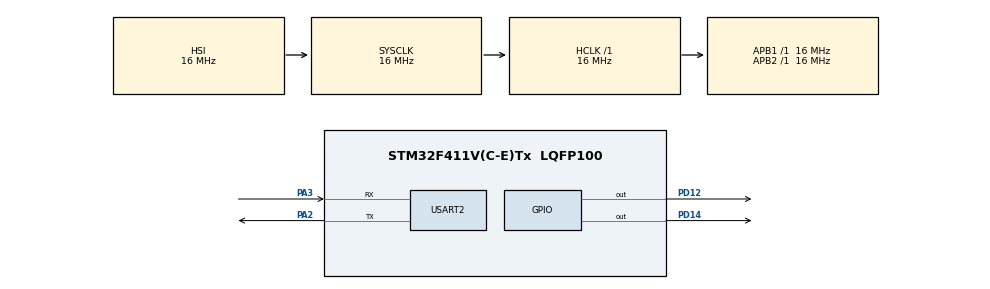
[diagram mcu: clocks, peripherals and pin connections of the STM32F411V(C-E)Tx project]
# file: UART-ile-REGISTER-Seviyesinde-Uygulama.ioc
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Mcu.Family=STM32F4
Mcu.Name=STM32F411V(C-E)Tx
Mcu.Package=LQFP100
NVIC.PriorityGroup=NVIC_PRIORITYGROUP_4
PA2.Mode=Asynchronous
PA2.Signal=USART2_TX
PA3.Mode=Asynchronous
PA3.Signal=USART2_RX
PD12.Signal=GPIO_Output
PD14.Signal=GPIO_Output
ProjectManager.HeapSize=0x200
ProjectManager.StackSize=0x400
ProjectManager.TargetToolchain=STM32CubeIDE
RCC.AHBFreq_Value=16000000
RCC.APB1Freq_Value=16000000
RCC.APB2Freq_Value=16000000
RCC.CortexFreq_Value=16000000
RCC.HSE_VALUE=25000000
RCC.HSI_VALUE=16000000
RCC.LSE_VALUE=32768
RCC.SYSCLKFreq_VALUE=16000000
RCC.VCOOutputFreq_Value=192000000
USART2.VirtualMode=VM_ASYNC
board=custom

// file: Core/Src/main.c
/* USER CODE BEGIN Header */
/*
 	 	 	 	 	 	 ######	Bilal Habeş Akçam ######
 	 	 	   	   	   	   	   02.11.2022

  UART Uzerinden, Klavyden 'A' Karakteri Girilirse Yesil LED Yanar
  'K' Karakteri Girilirse Yesil LED Soner 'B' Karakteri Girirse Baska Bir Karakter
   Girilene Kadar Yesil LED Blink Yapar. Bu Karakterler Harici Bir Karakter Girilirse Yesil LED
   Soner ve EROR LED'i Olan Kırmızı LED Yanar.

  */
/* USER CODE END Header */
#include "main.h"

UART_HandleTypeDef huart2;

void SystemClock_Config(void);
static void MX_GPIO_Init(void);
static void MX_USART2_UART_Init(void);

int main(void)
{
  /* USER CODE BEGIN 1 */
	char myData = 0;

  /* USER CODE END 1 */

  /* MCU Configuration--------------------------------------------------------*/

  /* Reset of all peripherals, Initializes the Flash interface and the Systick. */
  HAL_Init();

  /* Configure the system clock */
  SystemClock_Config();

  /* Initialize all configured peripherals */
  MX_GPIO_Init();
  MX_USART2_UART_Init();

  /* Infinite loop */
  while (1)
  {

    /* USER CODE BEGIN 3 */

	  while(!(USART2->SR & USART_SR_RXNE)); //Disaridan Veri Girilene Kadar Beklenir.

	  myData = USART2->DR;

	  // Klavye uzerinden gonderilen data A Olursa Eger Yesil Led Yanar.
	  if(myData == 'A'){
		HAL_GPIO_WritePin(GPIOD, GPIO_PIN_12, SET);
		HAL_Delay(50);
		HAL_GPIO_WritePin(GPIOD, GPIO_PIN_14, RESET);

	  }

	  // Klavye uzerinden gonderilen data K Olursa Eger Yesil Led Soner.
	  else if(myData == 'K'){
		HAL_GPIO_WritePin(GPIOD, GPIO_PIN_12, RESET);
		HAL_Delay(50);
		HAL_GPIO_WritePin(GPIOD, GPIO_PIN_14, RESET);
	  }

	  // Klavye uzerinden gonderilen data B Olursa Eger Yesil Led Bask Bir Karakter Girilene Kadar Blink Yapar.
	  else if(myData == 'B'){
		  do{

			  HAL_GPIO_TogglePin(GPIOD, GPIO_PIN_12);
			  HAL_Delay(150);
			  HAL_GPIO_WritePin(GPIOD, GPIO_PIN_14, RESET);

		  }
		  while(USART2->DR == 'B');

	  }

	  // Klavye uzerinden gonderilen data A,K,B Harici Olursa Eger Yesil Soner Kırmızı Hata Ledi Yanar.
	  else{
		  HAL_GPIO_WritePin(GPIOD, GPIO_PIN_12, RESET);
		  HAL_Delay(50);
		  HAL_GPIO_WritePin(GPIOD, GPIO_PIN_14, SET);
	  }

  }
  /* USER CODE END 3 */
}

void SystemClock_Config(void)
{
  RCC_OscInitTypeDef RCC_OscInitStruct = {0};
  RCC_ClkInitTypeDef RCC_ClkInitStruct = {0};

  /** Configure the main internal regulator output voltage
  */
  __HAL_RCC_PWR_CLK_ENABLE();
  __HAL_PWR_VOLTAGESCALING_CONFIG(PWR_REGULATOR_VOLTAGE_SCALE1);

  /** Initializes the RCC Oscillators according to the specified parameters
  * in the RCC_OscInitTypeDef structure.
  */
  RCC_OscInitStruct.OscillatorType = RCC_OSCILLATORTYPE_HSI;
  RCC_OscInitStruct.HSIState = RCC_HSI_ON;
  RCC_OscInitStruct.HSICalibrationValue = RCC_HSICALIBRATION_DEFAULT;
  RCC_OscInitStruct.PLL.PLLState = RCC_PLL_NONE;
  if (HAL_RCC_OscConfig(&RCC_OscInitStruct) != HAL_OK)
  {
    Error_Handler();
  }

  /** Initializes the CPU, AHB and APB buses clocks
  */
  RCC_ClkInitStruct.ClockType = RCC_CLOCKTYPE_HCLK|RCC_CLOCKTYPE_SYSCLK
                              |RCC_CLOCKTYPE_PCLK1|RCC_CLOCKTYPE_PCLK2;
  RCC_ClkInitStruct.SYSCLKSource = RCC_SYSCLKSOURCE_HSI;
  RCC_ClkInitStruct.AHBCLKDivider = RCC_SYSCLK_DIV1;
  RCC_ClkInitStruct.APB1CLKDivider = RCC_HCLK_DIV1;
  RCC_ClkInitStruct.APB2CLKDivider = RCC_HCLK_DIV1;

  if (HAL_RCC_ClockConfig(&RCC_ClkInitStruct, FLASH_LATENCY_0) != HAL_OK)
  {
    Error_Handler();
  }
}

static void MX_USART2_UART_Init(void)
{

  huart2.Instance = USART2;
  huart2.Init.BaudRate = 115200;
  huart2.Init.WordLength = UART_WORDLENGTH_8B;
  huart2.Init.StopBits = UART_STOPBITS_1;
  huart2.Init.Parity = UART_PARITY_NONE;
  huart2.Init.Mode = UART_MODE_TX_RX;
  huart2.Init.HwFlowCtl = UART_HWCONTROL_NONE;
  huart2.Init.OverSampling = UART_OVERSAMPLING_16;
  if (HAL_UART_Init(&huart2) != HAL_OK)
  {
    Error_Handler();
  }

}

static void MX_GPIO_Init(void)
{
  GPIO_InitTypeDef GPIO_InitStruct = {0};

  /* GPIO Ports Clock Enable */
  __HAL_RCC_GPIOA_CLK_ENABLE();
  __HAL_RCC_GPIOD_CLK_ENABLE();

  /*Configure GPIO pin Output Level */
  HAL_GPIO_WritePin(GPIOD, GPIO_PIN_12|GPIO_PIN_14, GPIO_PIN_RESET);

  /*Configure GPIO pins : PD12 PD14 */
  GPIO_InitStruct.Pin = GPIO_PIN_12|GPIO_PIN_14;
  GPIO_InitStruct.Mode = GPIO_MODE_OUTPUT_PP;
  GPIO_InitStruct.Pull = GPIO_NOPULL;
  GPIO_InitStruct.Speed = GPIO_SPEED_FREQ_LOW;
  HAL_GPIO_Init(GPIOD, &GPIO_InitStruct);

}

void Error_Handler(void)
{
  __disable_irq();
  while (1)
  {
  }
}
